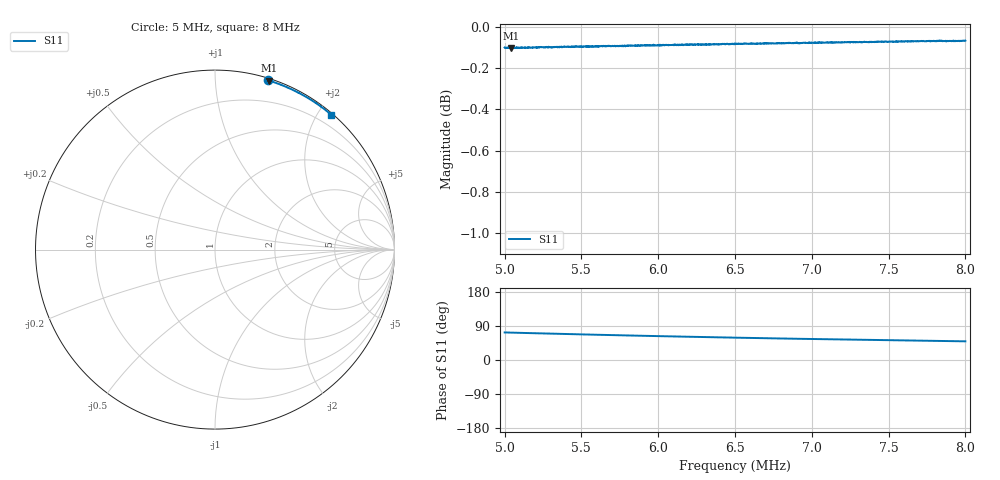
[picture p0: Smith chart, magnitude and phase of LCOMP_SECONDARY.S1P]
!Keysight Technologies,E5063A,MY54100949,A.07.30
!Date: Sun Dec 21 20:26:43 2025
!Data & Calibration Information:
!Freq	S11:SOLT1(ON)
# Hz S RI R 50
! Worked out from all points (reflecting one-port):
!   2001 points, 5 MHz to 8 MHz, reference 50 ohm
!   lowest |S11| = -0.1 dB at 5.042 MHz (marker M1), VSWR 167.45, Z = 0.858 + j68.4 ohm
!   phase of S11 starts at 73 deg and turns -23 deg over the sweep
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5000000  0.2933 0.9441
5012000  0.2955 0.9432
5042000  0.3005 0.9413
5112500  0.3133 0.9377
5232500  0.3339 0.9308
5375000  0.3573 0.9221
5475500  0.3734 0.916
5588000  0.3905 0.9089
5678000  0.4039 0.9035
5750000  0.4146 0.8986
5820500  0.4242 0.8942
5888000  0.4339 0.8897
6042500  0.4547 0.8793
6125000  0.4653 0.874
6207500  0.4757 0.8685
6287000  0.4855 0.8633
6417500  0.501 0.8546
6500000  0.5106 0.8488
6716000  0.5343 0.8345
6875000  0.5507 0.824
7065500  0.5697 0.8115
7250000  0.5867 0.7991
7440500  0.6037 0.787
7625000  0.6189 0.7751
7833500  0.6357 0.7622
7959500  0.6449 0.7542
7988000  0.6471 0.7525
8000000  0.6478 0.7518
